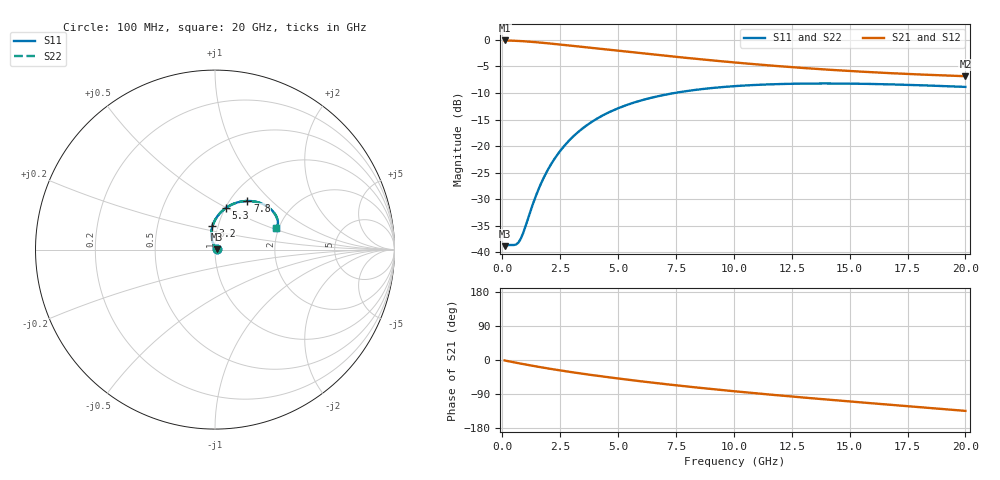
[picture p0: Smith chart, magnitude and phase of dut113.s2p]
! Touchstone file exported from HFSS 2024.1.0
!  File:  C:/UserFiles/LocalFiles/RDL_TSV_Batchsim/temp_RDL_TSV_113_1779422538.aedt
!  Generated:  12:17:50 PM May 22, 2026
!  Design:  RDL_TSV
!  Project:  temp_RDL_TSV_113_1779422538
!  Setup:  Setup1
!  Solution:  Sweep
! Variables:
!  dtsv = 8.4um
!  hbump = 3um
!  htsv = 66.03um
!  ldown = 240.07um
!  lrdl = 262.91um
!  p = 40
!  p1 = 52.88um
!  rhole = 10um
!  subl = 1771.85um
!  t = 450um
!  tdown = 3.23um
!  trdl = 3.23um
!  viad = 10um
!  wdown = 23.68um
!  wrdl = 16.43um
!  xbump = 18um
# GHz S MA R 50.000000
! Terminal data exported
! Port[1] = TM1_1_T1
! Port[2] = TM1_4_T1
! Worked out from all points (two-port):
!   200 points, 100 MHz to 20 GHz, reference 50 ohm
!   highest |S21| = -0.10 dB at 100 MHz (marker M1); lowest = -6.8 dB at 20 GHz (marker M2)
!   |S21| within 3 dB of the highest: start of sweep to 7.312 GHz
!   lowest |S11| = -38.9 dB at 100 MHz (marker M3), VSWR 1.02, Z = 51.1 + j0.162 ohm
!   |S11| at or under -10 dB: start of sweep to 7.441 GHz
!   |S22| runs from -38.9 to -8.2 dB; largest |S21 - S12| = 1.8e-14
!   S11 on the Smith chart (normalised r, x): 100 MHz: 1.02, +0.00; 3.2 GHz: 0.94, +0.25; 5.3 GHz: 1.01, +0.50; 7.8 GHz: 1.20, +0.73; 20 GHz: 1.94, +0.53
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0.1  0.01139 8.0  0.9884 -1.2  0.9884 -1.2  0.01139 8.0
! Gamma 0 0 0 0
! Port Impedance 50 0 50 0
0.6  0.01182 47.9  0.9804 -7.3  0.9804 -7.3  0.01182 47.9
0.7  0.01235 58.7  0.9779 -8.4  0.9779 -8.4  0.01235 58.7
0.8  0.01342 69.5  0.9752 -9.6  0.9752 -9.6  0.01341 69.5
0.9  0.01512 79.3  0.9722 -10.7  0.9722 -10.7  0.01512 79.3
1.3  0.02751 101.6  0.9581 -15.2  0.9581 -15.2  0.02749 101.6
1.5  0.03609 105.5  0.95 -17.4  0.95 -17.4  0.03606 105.5
1.9  0.05608 107.0  0.9324 -21.6  0.9324 -21.6  0.05604 107.0
2.2  0.07265 105.6  0.9185 -24.6  0.9185 -24.6  0.0726 105.6
2.5  0.08996 103.2  0.9044 -27.5  0.9044 -27.5  0.0899 103.2
2.8  0.1076 100.3  0.8902 -30.3  0.8902 -30.3  0.1075 100.3
3.2  0.1311 96.2  0.8713 -33.9  0.8713 -33.9  0.131 96.2
3.5  0.1485 93.0  0.8573 -36.5  0.8573 -36.5  0.1484 93.0
4.3  0.1923 84.7  0.8211 -43.2  0.8211 -43.2  0.1921 84.7
5.3  0.2404 75.2  0.7781 -51.1  0.7781 -51.1  0.2402 75.2
6.8  0.2972 63.2  0.7186 -62.0  0.7186 -62.0  0.297 63.1
7.8  0.3256 56.4  0.6825 -68.7  0.6825 -68.7  0.3254 56.3
10.1  0.3676 43.7  0.6113 -83.0  0.6113 -83.0  0.3674 43.7
11.7  0.3822 37.0  0.5712 -92.0  0.5712 -92.0  0.3819 36.9
13.4  0.3883 31.1  0.5362 -101.1  0.5362 -101.1  0.388 31.1
16.7  0.3814 23.2  0.4869 -117.9  0.4869 -117.9  0.3811 23.2
20  0.3608 19.2  0.4552 -134.3  0.4552 -134.3  0.3606 19.2
